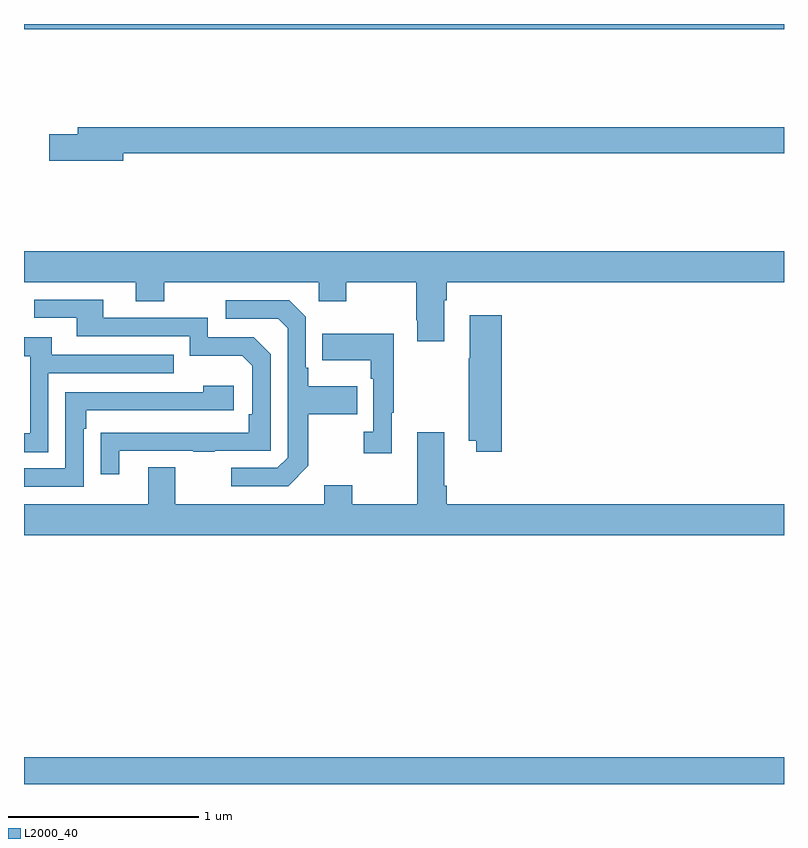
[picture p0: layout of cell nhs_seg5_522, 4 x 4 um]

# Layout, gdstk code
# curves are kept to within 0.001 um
import gdstk
lib = gdstk.Library(unit=1e-6, precision=1e-09)
def R(c, l, rs):  # rectangles x0, y0, x1, y1
    for r in rs: c.add(gdstk.rectangle(r[:2], r[2:], *l))
def P(c, l, *ps):  # polygons
    for p in ps: c.add(gdstk.Polygon(p, *l))
L2000_40 = (2000, 40)

nhs_seg5_522 = lib.new_cell('nhs_seg5_522')
R(nhs_seg5_522, L2000_40, [(145,840.799,149,840.94), (145,844.772,149,844.799)])
P(nhs_seg5_522, L2000_40, [(145.522,844.12),(149,844.12),(149,844.256),(145.283,844.256),(145.283,844.22),(145.134,844.22),(145.134,844.078),(145.522,844.078)],
  [(147.211,843.344),(147.224,843.344),(147.224,843.44),(149,843.44),(149,843.604),(145,843.604),(145,843.44),(145.589,843.44),(145.589,843.341),(145.737,843.341),(145.737,843.44),(146.55,843.44),(146.55,843.341),(146.697,843.341),(146.697,843.44),(147.064,843.44),(147.064,843.241),(147.071,843.241),(147.071,843.129),(147.211,843.129)],
  [(145.501,842.553),(145.891,842.553),(145.891,842.548),(146.003,842.548),(146.003,842.553),(146.298,842.553),(146.298,843.06),(146.208,843.15),(145.968,843.15),(145.968,843.252),(145.417,843.252),(145.417,843.348),(145.053,843.348),(145.053,843.252),(145.277,843.252),(145.277,843.156),(145.872,843.156),(145.872,843.053),(146.149,843.053),(146.202,843),(146.202,842.746),(146.182,842.746),(146.182,842.649),(145.405,842.648),(145.405,842.43),(145.501,842.43)],
  [(146.497,842.473),(146.497,842.746),(146.753,842.746),(146.753,842.893),(146.497,842.893),(146.497,842.989),(146.484,842.989),(146.484,843.258),(146.397,843.345),(146.061,843.345),(146.061,843.249),(146.337,843.249),(146.388,843.198),(146.388,842.517),(146.334,842.463),(146.091,842.463),(146.091,842.367),(146.391,842.367)],
  [(147.515,843.265),(147.347,843.265),(147.347,843.041),(147.34,843.041),(147.34,842.606),(147.38,842.606),(147.38,842.547),(147.515,842.547)],
  [(146.935,842.753),(146.947,842.753),(146.947,843.169),(146.569,843.169),(146.569,843.029),(146.826,843.029),(146.826,842.933),(146.838,842.933),(146.838,842.654),(146.787,842.654),(146.787,842.541),(146.935,842.541)],
  [(145.128,842.961),(145.787,842.961),(145.787,843.057),(145.147,843.057),(145.147,843.151),(145,843.151),(145,843.051),(145.032,843.051),(145.032,842.646),(145,842.646),(145,842.545),(145.128,842.545)],
  [(145.314,842.669),(145.327,842.669),(145.327,842.766),(146.104,842.766),(146.104,842.896),(145.943,842.896),(145.943,842.862),(145.218,842.862),(145.218,842.46),(145,842.46),(145,842.364),(145.314,842.364)],
  [(146.579,842.371),(146.579,842.272),(145.795,842.272),(145.795,842.467),(145.655,842.467),(145.655,842.272),(145,842.272),(145,842.108),(149,842.108),(149,842.272),(147.224,842.272),(147.224,842.368),(147.211,842.368),(147.211,842.65),(147.071,842.65),(147.071,842.272),(146.727,842.272),(146.727,842.371)])

lib.write_gds('nhs_seg5_522.gds')
